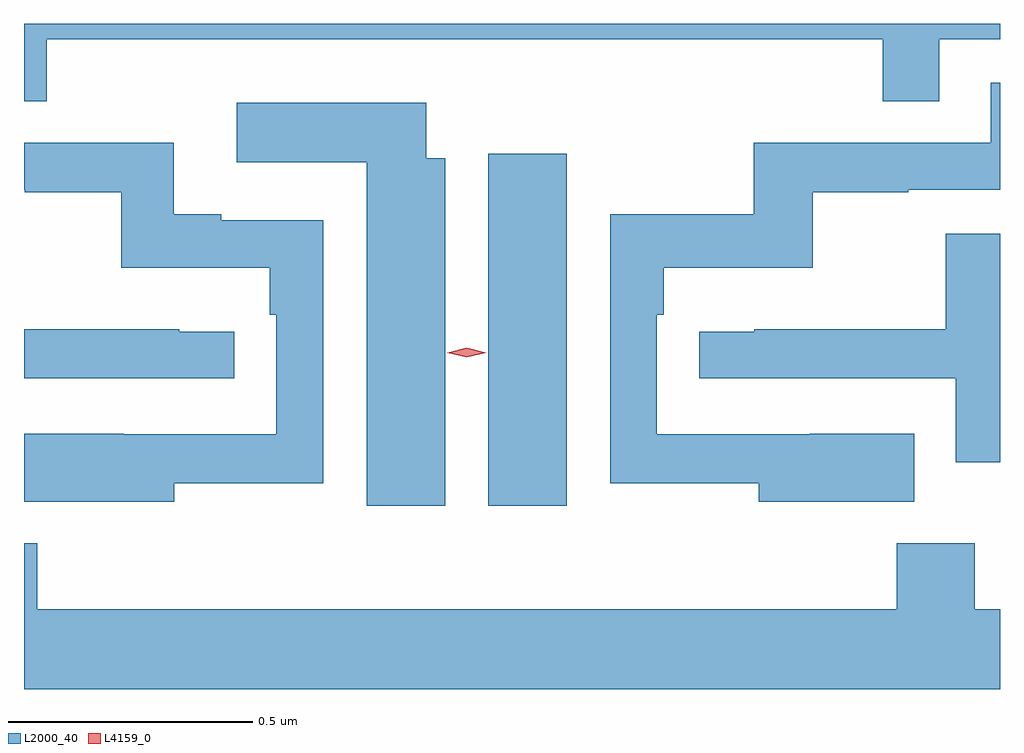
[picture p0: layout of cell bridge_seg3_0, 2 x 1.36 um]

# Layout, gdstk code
import gdstk
lib = gdstk.Library(unit=1e-6, precision=1e-09)
def R(c, l, rs):  # rectangles x0, y0, x1, y1
    for r in rs: c.add(gdstk.rectangle(r[:2], r[2:], *l))
def P(c, l, *ps):  # polygons
    for p in ps: c.add(gdstk.Polygon(p, *l))
L2000_40 = (2000, 40)
L4159_0 = (4159, 0)

bridge_seg3_0 = lib.new_cell('bridge_seg3_0')
R(bridge_seg3_0, L2000_40, [(913.052,747.912,913.213,748.633)])
P(bridge_seg3_0, L2000_40, [(912.148,748.868),(913.861,748.868),(913.861,748.741),(913.977,748.741),(913.977,748.868),(914.101,748.868),(914.101,748.9),(912.101,748.9),(912.101,748.741),(912.148,748.741)],
  [(913.925,748.06),(913.711,748.06),(913.711,748.059),(913.398,748.059),(913.398,748.304),(913.412,748.304),(913.412,748.4),(913.717,748.4),(913.717,748.555),(913.913,748.555),(913.913,748.56),(914.101,748.56),(914.101,748.779),(914.082,748.779),(914.082,748.656),(913.596,748.656),(913.596,748.51),(913.302,748.51),(913.302,747.958),(913.607,747.958),(913.607,747.92),(913.925,747.92)],
  [(912.964,748.624),(912.925,748.624),(912.925,748.738),(912.537,748.738),(912.537,748.616),(912.803,748.616),(912.803,747.912),(912.964,747.912)],
  [(912.409,747.958),(912.714,747.958),(912.714,748.497),(912.505,748.497),(912.505,748.51),(912.408,748.51),(912.408,748.656),(912.101,748.656),(912.101,748.56),(912.103,748.56),(912.103,748.555),(912.3,748.555),(912.3,748.4),(912.605,748.4),(912.605,748.304),(912.618,748.304),(912.618,748.059),(912.305,748.059),(912.305,748.06),(912.101,748.06),(912.101,747.92),(912.409,747.92)],
  [(914.101,748.47),(913.99,748.47),(913.99,748.274),(913.597,748.274),(913.597,748.269),(913.485,748.269),(913.485,748.173),(914.01,748.173),(914.01,748.001),(914.101,748.001)],
  [(912.532,748.269),(912.419,748.269),(912.419,748.274),(912.101,748.274),(912.101,748.173),(912.532,748.173)],
  [(914.101,747.7),(914.049,747.7),(914.049,747.835),(913.889,747.835),(913.889,747.7),(912.128,747.7),(912.128,747.835),(912.101,747.835),(912.101,747.536),(914.101,747.536)])
P(bridge_seg3_0, L4159_0, [(913.008,748.216),(912.968,748.226),(912.968,748.226),(912.968,748.226),(913.008,748.236),(913.048,748.226),(913.048,748.226),(913.048,748.226)])

lib.write_gds('bridge_seg3_0.gds')
